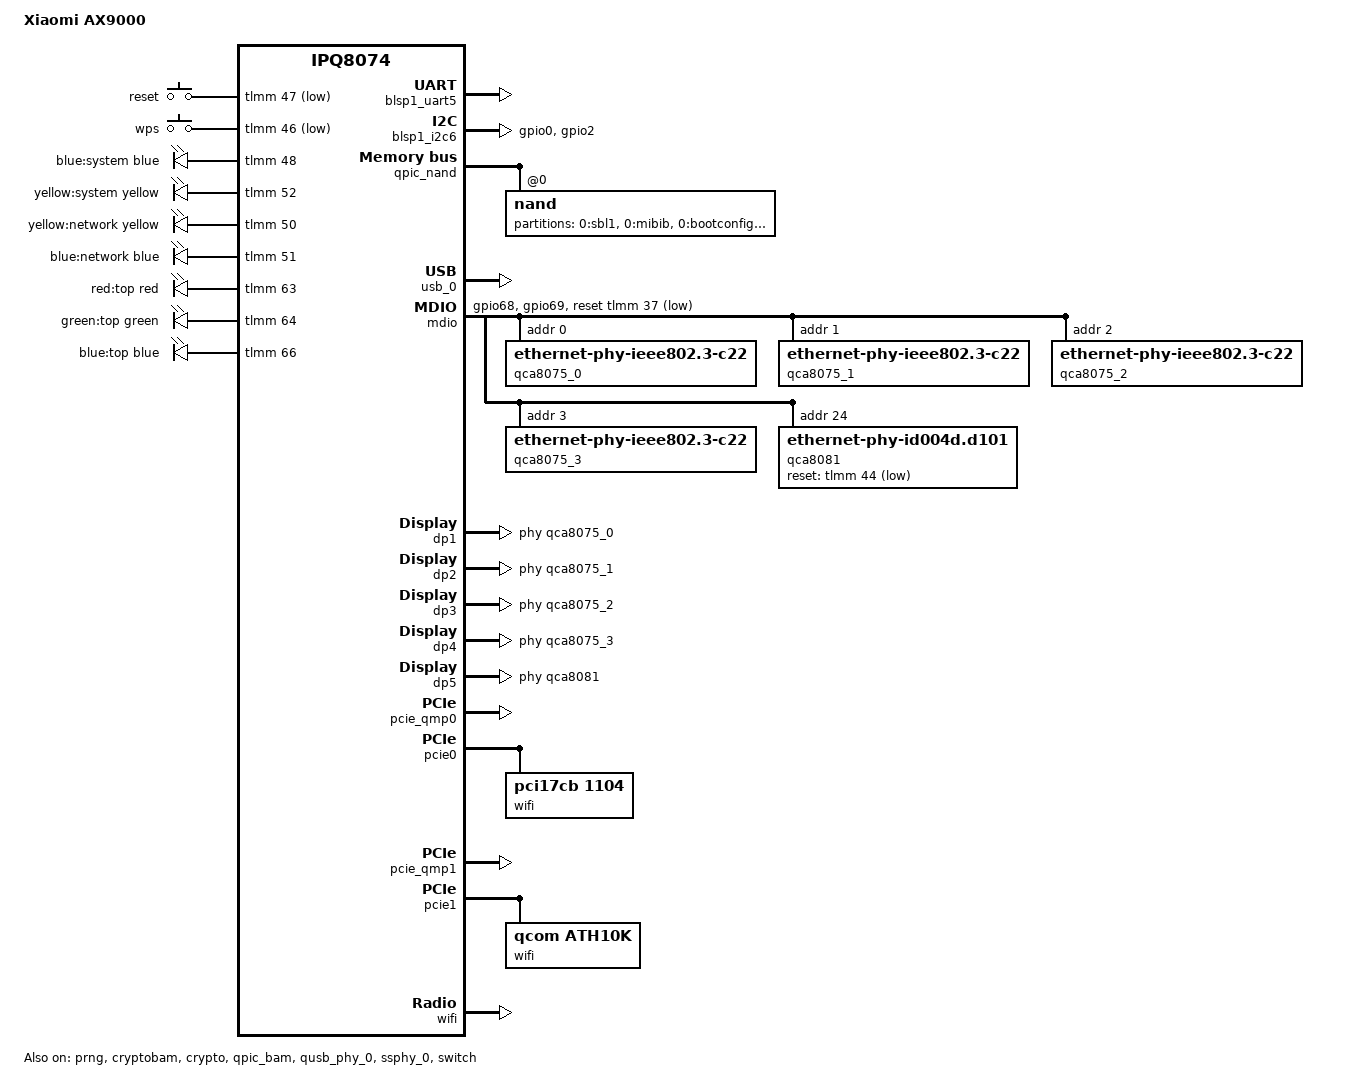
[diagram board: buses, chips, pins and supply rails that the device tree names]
// SPDX-License-Identifier: GPL-2.0-or-later OR MIT
/* Copyright (c) 2021, Robert Marko <robimarko@gmail.com> */

/dts-v1/;

#include "ipq8074.dtsi"
#include "ipq8074-hk-cpu.dtsi"
#include "ipq8074-ess.dtsi"
#include <dt-bindings/gpio/gpio.h>
#include <dt-bindings/input/input.h>
#include <dt-bindings/leds/common.h>

/ {
	model = "Xiaomi AX9000";
	compatible = "xiaomi,ax9000", "qcom,ipq8074";

	aliases {
		serial0 = &blsp1_uart5;
		led-boot = &led_system_yellow;
		led-failsafe = &led_system_yellow;
		led-running = &led_system_blue;
		led-upgrade = &led_system_yellow;
		label-mac-device = &dp5;
	};

	chosen {
		stdout-path = "serial0:115200n8";
		bootargs-append = " root=/dev/ubiblock0_0";
	};

	keys {
		compatible = "gpio-keys";

		reset {
			label = "reset";
			gpios = <&tlmm 47 GPIO_ACTIVE_LOW>;
			linux,code = <KEY_RESTART>;
		};

		wps {
			label = "wps"; /* Labeled Mesh on the device */
			gpios = <&tlmm 46 GPIO_ACTIVE_LOW>;
			linux,code = <KEY_WPS_BUTTON>;
		};
	};

	leds {
		compatible = "gpio-leds";

		led_system_blue: system-blue {
			label = "blue:system";
			gpios = <&tlmm 48 GPIO_ACTIVE_HIGH>;
			color = <LED_COLOR_ID_BLUE>;
		};

		led_system_yellow: system-yellow {
			label = "yellow:system";
			gpios = <&tlmm 52 GPIO_ACTIVE_HIGH>;
			color = <LED_COLOR_ID_YELLOW>;
		};

		network-yellow {
			label = "yellow:network";
			gpios = <&tlmm 50 GPIO_ACTIVE_HIGH>;
			color = <LED_COLOR_ID_YELLOW>;
		};

		network-blue {
			label = "blue:network";
			gpios = <&tlmm 51 GPIO_ACTIVE_HIGH>;
			color = <LED_COLOR_ID_BLUE>;
		};

		top-red {
			label = "red:top";
			gpios = <&tlmm 63 GPIO_ACTIVE_HIGH>;
			color = <LED_COLOR_ID_RED>;
			default-state = "keep";
		};

		top-green {
			label = "green:top";
			gpios = <&tlmm 64 GPIO_ACTIVE_HIGH>;
			color = <LED_COLOR_ID_GREEN>;
			default-state = "keep";
		};

		top-blue {
			label = "blue:top";
			gpios = <&tlmm 66 GPIO_ACTIVE_HIGH>;
			color = <LED_COLOR_ID_BLUE>;
			default-state = "keep";
		};
	};
};

&tlmm {
	mdio_pins: mdio-pins {
		mdc {
			pins = "gpio68";
			function = "mdc";
			drive-strength = <8>;
			bias-pull-up;
		};

		mdio {
			pins = "gpio69";
			function = "mdio";
			drive-strength = <8>;
			bias-pull-up;
		};
	};

	i2c_pins: i2c-pins {
		pins = "gpio0", "gpio2";
		function = "blsp5_i2c";
		drive-strength = <8>;
		bias-disable;
	};
};

&blsp1_uart5 {
	status = "okay";
};

&blsp1_i2c6 {
	status = "okay";

	pinctrl-0 = <&i2c_pins>;
	pinctrl-names = "default";
};

&prng {
	status = "okay";
};

&cryptobam {
	status = "okay";
};

&crypto {
	status = "okay";
};

&qpic_bam {
	status = "okay";
};

&qpic_nand {
	status = "okay";

	/*
	 * Bootloader will find the NAND DT node by the compatible and
	 * then "fixup" it by adding the partitions from the SMEM table
	 * using the legacy bindings thus making it impossible for us
	 * to change the partition table or utilize NVMEM for calibration.
	 * So add a dummy partitions node that bootloader will populate
	 * and set it as disabled so the kernel ignores it instead of
	 * printing warnings due to the broken way bootloader adds the
	 * partitions.
	 */
	partitions {
		status = "disabled";
	};

	nand@0 {
		reg = <0>;
		nand-ecc-strength = <4>;
		nand-ecc-step-size = <512>;
		nand-bus-width = <8>;

		partitions {
			compatible = "fixed-partitions";
			#address-cells = <1>;
			#size-cells = <1>;

			partition@0 {
				label = "0:sbl1";
				reg = <0x0 0x100000>;
				read-only;
			};

			partition@100000 {
				label = "0:mibib";
				reg = <0x100000 0x100000>;
				read-only;
			};

			partition@200000 {
				label = "0:bootconfig";
				reg = <0x200000 0x80000>;
				read-only;
			};

			partition@280000 {
				label = "0:bootconfig1";
				reg = <0x280000 0x80000>;
				read-only;
			};

			partition@300000 {
				label = "0:qsee";
				reg = <0x300000 0x300000>;
				read-only;
			};

			partition@600000 {
				label = "0:qsee_1";
				reg = <0x600000 0x300000>;
				read-only;
			};

			partition@900000 {
				label = "0:devcfg";
				reg = <0x900000 0x80000>;
				read-only;
			};

			partition@980000 {
				label = "0:devcfg_1";
				reg = <0x980000 0x80000>;
				read-only;
			};

			partition@a00000 {
				label = "0:apdp";
				reg = <0xa00000 0x80000>;
				read-only;
			};

			partition@a80000 {
				label = "0:apdp_1";
				reg = <0xa80000 0x80000>;
				read-only;
			};

			partition@b00000 {
				label = "0:rpm";
				reg = <0xb00000 0x80000>;
				read-only;
			};

			partition@b80000 {
				label = "0:rpm_1";
				reg = <0xb80000 0x80000>;
				read-only;
			};

			partition@c00000 {
				label = "0:cdt";
				reg = <0xc00000 0x80000>;
				read-only;
			};

			partition@c80000 {
				label = "0:cdt_1";
				reg = <0xc80000 0x80000>;
				read-only;
			};

			partition@d00000 {
				label = "0:appsblenv";
				reg = <0xd00000 0x80000>;
			};

			partition@d80000 {
				label = "0:appsbl";
				reg = <0xd80000 0x100000>;
				read-only;
			};

			partition@e80000 {
				label = "0:appsbl_1";
				reg = <0xe80000 0x100000>;
				read-only;
			};

			partition@f80000 {
				label = "0:art";
				reg = <0xf80000 0x80000>;
				read-only;

				compatible = "nvmem-cells";
				#address-cells = <1>;
				#size-cells = <1>;

				macaddr_dp1: macaddr@0 {
					reg = <0x0 0x6>;
				};

				macaddr_dp2: macaddr@6 {
					reg = <0x6 0x6>;
				};

				macaddr_dp3: macaddr@c {
					reg = <0xc 0x6>;
				};

				macaddr_dp4: macaddr@12 {
					reg = <0x12 0x6>;
				};

				macaddr_dp5: macaddr@18 {
					reg = <0x18 0x6>;
				};

				caldata_qca9889: caldata@4d000 {
					reg = <0x4d000 0x844>;
				};
			};

			partition@1000000 {
				label = "bdata";
				reg = <0x1000000 0x80000>;
			};

			partition@1080000 {
				/* This is crash + crash_syslog parts combined */
				label = "pstore";
				reg = <0x1080000 0x100000>;
			};

			partition@1180000 {
				label = "ubi_kernel";
				reg = <0x1180000 0x3800000>;
			};

			partition@4980000 {
				label = "rootfs";
				reg = <0x4980000 0xb680000>;
			};
		};
	};
};

&qusb_phy_0 {
	status = "okay";
};

&ssphy_0 {
	status = "okay";
};

&usb_0 {
	status = "okay";
};

&mdio {
	status = "okay";

	pinctrl-0 = <&mdio_pins>;
	pinctrl-names = "default";
	reset-gpios = <&tlmm 37 GPIO_ACTIVE_LOW>;

	qca8075_0: ethernet-phy@0 {
		compatible = "ethernet-phy-ieee802.3-c22";
		reg = <0>;
	};

	qca8075_1: ethernet-phy@1 {
		compatible = "ethernet-phy-ieee802.3-c22";
		reg = <1>;
	};

	qca8075_2: ethernet-phy@2 {
		compatible = "ethernet-phy-ieee802.3-c22";
		reg = <2>;
	};

	qca8075_3: ethernet-phy@3 {
		compatible = "ethernet-phy-ieee802.3-c22";
		reg = <3>;
	};

	qca8081: ethernet-phy@24 {
		compatible = "ethernet-phy-id004d.d101";
		reg = <24>;
		reset-gpios = <&tlmm 44 GPIO_ACTIVE_LOW>;
	};
};

&switch {
	status = "okay";

	switch_lan_bmp = <(ESS_PORT1 | ESS_PORT2 | ESS_PORT3 | ESS_PORT4)>; /* lan port bitmap */
	switch_wan_bmp = <ESS_PORT5>; /* wan port bitmap */
	switch_mac_mode = <0xb>; /* mac mode for uniphy instance0*/
	switch_mac_mode1 = <0xc>; /* mac mode for uniphy instance1*/
	switch_mac_mode2 = <0xff>; /* mac mode for uniphy instance2*/
	bm_tick_mode = <0>; /* bm tick mode */
	tm_tick_mode = <0>; /* tm tick mode */

	qcom,port_phyinfo {
		port@0 {
			port_id = <1>;
			phy_address = <0>;
		};
		port@1 {
			port_id = <2>;
			phy_address = <1>;
		};
		port@2 {
			port_id = <3>;
			phy_address = <2>;
		};
		port@3 {
			port_id = <4>;
			phy_address = <3>;
		};
		port@4 {
			port_id = <5>;
			phy_address = <24>;
			port_mac_sel = "QGMAC_PORT";
		};
	};
};

&edma {
	status = "okay";
};

&dp1 {
	status = "okay";
	phy-handle = <&qca8075_0>;
	label = "lan4";
	nvmem-cells = <&macaddr_dp1>;
	nvmem-cell-names = "mac-address";
};

&dp2 {
	status = "okay";
	phy-handle = <&qca8075_1>;
	label = "lan3";
	nvmem-cells = <&macaddr_dp2>;
	nvmem-cell-names = "mac-address";
};

&dp3 {
	status = "okay";
	phy-handle = <&qca8075_2>;
	label = "lan2";
	nvmem-cells = <&macaddr_dp3>;
	nvmem-cell-names = "mac-address";
};

&dp4 {
	status = "okay";
	phy-handle = <&qca8075_3>;
	label = "lan1";
	nvmem-cells = <&macaddr_dp4>;
	nvmem-cell-names = "mac-address";
};

&dp5 {
	status = "okay";
	phy-handle = <&qca8081>;
	label = "wan";
	nvmem-cells = <&macaddr_dp5>;
	nvmem-cell-names = "mac-address";
};

&pcie_qmp0 {
	status = "okay";
};

&pcie0 {
	status = "okay";

	perst-gpio = <&tlmm 58 GPIO_ACTIVE_LOW>;

	bridge@0,0 {
		reg = <0x00000000 0 0 0 0>;
		#address-cells = <3>;
		#size-cells = <2>;
		ranges;

		wifi@1,0 {
			status = "okay";

			/* ath11k has no DT compatible for PCI cards */
			compatible = "pci17cb,1104";
			reg = <0x00010000 0 0 0 0>;

			qcom,ath11k-calibration-variant = "Xiaomi-AX9000";
		};
	};
};

&pcie_qmp1 {
	status = "okay";
};

&pcie1 {
	status = "okay";

	perst-gpio = <&tlmm 62 GPIO_ACTIVE_HIGH>;

	bridge@1,0 {
		reg = <0x00010000 0 0 0 0>;
		#address-cells = <3>;
		#size-cells = <2>;
		ranges;

		wifi@1,0 {
			status = "okay";

			compatible = "qcom,ath10k";
			reg = <0x00010000 0 0 0 0>;

			qcom,ath10k-calibration-variant = "Xiaomi-AX9000";
			nvmem-cell-names = "calibration";
			nvmem-cells = <&caldata_qca9889>;
		};
	};
};

&wifi {
	status = "okay";

	qcom,ath11k-calibration-variant = "Xiaomi-AX9000";
};
